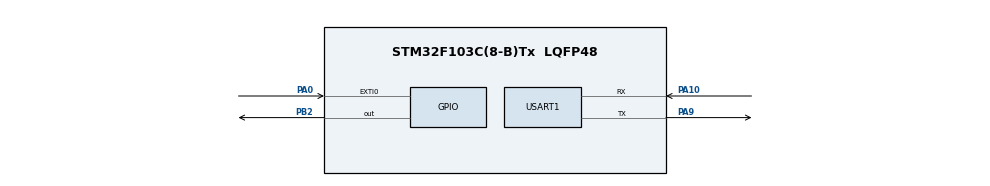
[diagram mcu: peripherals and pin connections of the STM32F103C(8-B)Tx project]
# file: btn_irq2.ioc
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Mcu.Family=STM32F1
Mcu.Name=STM32F103C(8-B)Tx
Mcu.Package=LQFP48
NVIC.EXTI0_IRQn=true\:1\:0\:true\:false\:true\:true\:true\:true
NVIC.PriorityGroup=NVIC_PRIORITYGROUP_4
PA0-WKUP.GPIO_ModeDefaultEXTI=GPIO_MODE_IT_RISING_FALLING
PA0-WKUP.GPIO_PuPd=GPIO_PULLDOWN
PA0-WKUP.Signal=GPXTI0
PA10.Mode=Asynchronous
PA10.Signal=USART1_RX
PA13.Mode=Serial_Wire
PA13.Signal=SYS_JTMS-SWDIO
PA14.Mode=Serial_Wire
PA14.Signal=SYS_JTCK-SWCLK
PA9.Mode=Asynchronous
PA9.Signal=USART1_TX
PB2.Signal=GPIO_Output
ProjectManager.HeapSize=0x200
ProjectManager.StackSize=0x400
ProjectManager.TargetToolchain=STM32CubeIDE
RCC.APB1Freq_Value=8000000
RCC.APB2Freq_Value=8000000
USART1.VirtualMode=VM_ASYNC
board=custom

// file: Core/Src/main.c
/* USER CODE BEGIN Header */
/**
  ******************************************************************************
  * @file           : main.c
  * @brief          : Main program body
  ******************************************************************************
  * @attention
  *
  * Copyright (c) 2025 STMicroelectronics.
  * All rights reserved.
  *
  * This software is licensed under terms that can be found in the LICENSE file
  * in the root directory of this software component.
  * If no LICENSE file comes with this software, it is provided AS-IS.
  *
  ******************************************************************************
  */
/* USER CODE END Header */
#include "main.h"

/* USER CODE BEGIN Includes */
#include <stdio.h>
/* USER CODE END Includes */

UART_HandleTypeDef huart1;

/* USER CODE BEGIN PV */

/**
* GNUC specific stdout/stderr hooks.
*
* @note: other compilers have other stdout/stderr hooks.
*/
#ifndef __GNUC__
#error Unknown compilator
#else
#include <unistd.h>

int _write(int fd, const void *buf, size_t count)
{
	int res = 0;
	if (fd == STDOUT_FILENO || fd == STDERR_FILENO) {
		// write data to UART
		HAL_StatusTypeDef hal_res = HAL_UART_Transmit(&huart1, (uint8_t*) buf, count, HAL_MAX_DELAY);
		res = hal_res == HAL_OK ? count : -1;
	} else {
		res = -1;
	}
	return res;
}
#endif
/* USER CODE END PV */

void SystemClock_Config(void);
static void MX_GPIO_Init(void);
static void MX_USART1_UART_Init(void);

/* USER CODE BEGIN 0 */

void HAL_GPIO_EXTI_Callback(uint16_t GPIO_Pin)
{
	//
	// Входной аргумент GPIO_Pin представляет из себя битовую
	// маску с номером пина, откуда пришло прерывание.
	// Его значение равно одной из следующих констант:
	// - GPIO_PIN_0...GPIO_PIN_N
	int btn_state = HAL_GPIO_ReadPin(GPIOA, GPIO_Pin);
	printf("HAL_GPIO_EXTI_Callback, GPIO_Pin: %d \n", GPIO_Pin);
	printf("btn_state: %d \n", btn_state);
	if (btn_state)
	{
		HAL_GPIO_WritePin(GPIOB, GPIO_PIN_2, GPIO_PIN_SET);
	} else {
		HAL_GPIO_WritePin(GPIOB, GPIO_PIN_2, GPIO_PIN_RESET);
	}
	// Перед выходом из прерывания на всякий случай
	// очистим его бит в EXTI. Это поможет избежать "зацикливания"
	// прерывания если при работе с пинами мы снова сформировали
	// импульс, который инициировал данное прерываниеснова.
	__HAL_GPIO_EXTI_CLEAR_IT(GPIO_Pin);
}
/* USER CODE END 0 */

int main(void)
{

  /* MCU Configuration--------------------------------------------------------*/

  /* Reset of all peripherals, Initializes the Flash interface and the Systick. */
  HAL_Init();

  /* Configure the system clock */
  SystemClock_Config();

  /* Initialize all configured peripherals */
  MX_GPIO_Init();
  MX_USART1_UART_Init();

  /* Infinite loop */
  while (1)
  {

  }
}

void SystemClock_Config(void)
{
  RCC_OscInitTypeDef RCC_OscInitStruct = {0};
  RCC_ClkInitTypeDef RCC_ClkInitStruct = {0};

  /** Initializes the RCC Oscillators according to the specified parameters
  * in the RCC_OscInitTypeDef structure.
  */
  RCC_OscInitStruct.OscillatorType = RCC_OSCILLATORTYPE_HSI;
  RCC_OscInitStruct.HSIState = RCC_HSI_ON;
  RCC_OscInitStruct.HSICalibrationValue = RCC_HSICALIBRATION_DEFAULT;
  RCC_OscInitStruct.PLL.PLLState = RCC_PLL_NONE;
  if (HAL_RCC_OscConfig(&RCC_OscInitStruct) != HAL_OK)
  {
    Error_Handler();
  }

  /** Initializes the CPU, AHB and APB buses clocks
  */
  RCC_ClkInitStruct.ClockType = RCC_CLOCKTYPE_HCLK|RCC_CLOCKTYPE_SYSCLK
                              |RCC_CLOCKTYPE_PCLK1|RCC_CLOCKTYPE_PCLK2;
  RCC_ClkInitStruct.SYSCLKSource = RCC_SYSCLKSOURCE_HSI;
  RCC_ClkInitStruct.AHBCLKDivider = RCC_SYSCLK_DIV1;
  RCC_ClkInitStruct.APB1CLKDivider = RCC_HCLK_DIV1;
  RCC_ClkInitStruct.APB2CLKDivider = RCC_HCLK_DIV1;

  if (HAL_RCC_ClockConfig(&RCC_ClkInitStruct, FLASH_LATENCY_0) != HAL_OK)
  {
    Error_Handler();
  }
}

static void MX_USART1_UART_Init(void)
{

  huart1.Instance = USART1;
  huart1.Init.BaudRate = 115200;
  huart1.Init.WordLength = UART_WORDLENGTH_8B;
  huart1.Init.StopBits = UART_STOPBITS_1;
  huart1.Init.Parity = UART_PARITY_NONE;
  huart1.Init.Mode = UART_MODE_TX_RX;
  huart1.Init.HwFlowCtl = UART_HWCONTROL_NONE;
  huart1.Init.OverSampling = UART_OVERSAMPLING_16;
  if (HAL_UART_Init(&huart1) != HAL_OK)
  {
    Error_Handler();
  }

}

static void MX_GPIO_Init(void)
{
  GPIO_InitTypeDef GPIO_InitStruct = {0};

  /* GPIO Ports Clock Enable */
  __HAL_RCC_GPIOA_CLK_ENABLE();
  __HAL_RCC_GPIOB_CLK_ENABLE();

  /*Configure GPIO pin Output Level */
  HAL_GPIO_WritePin(GPIOB, GPIO_PIN_2, GPIO_PIN_RESET);

  /*Configure GPIO pin : PA0 */
  GPIO_InitStruct.Pin = GPIO_PIN_0;
  GPIO_InitStruct.Mode = GPIO_MODE_IT_RISING_FALLING;
  GPIO_InitStruct.Pull = GPIO_PULLDOWN;
  HAL_GPIO_Init(GPIOA, &GPIO_InitStruct);

  /*Configure GPIO pin : PB2 */
  GPIO_InitStruct.Pin = GPIO_PIN_2;
  GPIO_InitStruct.Mode = GPIO_MODE_OUTPUT_PP;
  GPIO_InitStruct.Pull = GPIO_NOPULL;
  GPIO_InitStruct.Speed = GPIO_SPEED_FREQ_LOW;
  HAL_GPIO_Init(GPIOB, &GPIO_InitStruct);

  /* EXTI interrupt init*/
  HAL_NVIC_SetPriority(EXTI0_IRQn, 1, 0);
  HAL_NVIC_EnableIRQ(EXTI0_IRQn);

}

void Error_Handler(void)
{
  __disable_irq();
  while (1)
  {
  }
}
